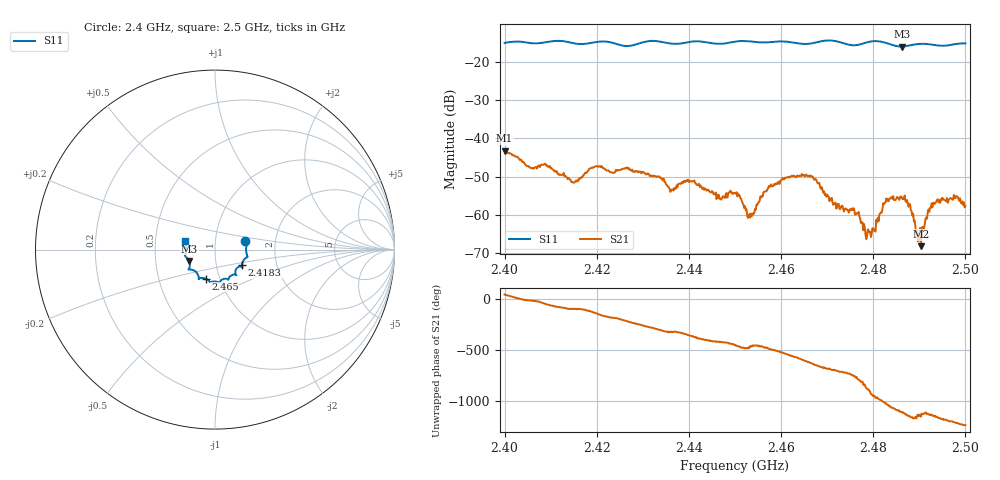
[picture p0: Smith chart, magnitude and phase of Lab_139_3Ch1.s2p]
# Hz S RI R 50
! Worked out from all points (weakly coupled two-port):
!   601 points, 2.4 GHz to 2.5 GHz, reference 50 ohm
!   highest |S21| = -43.27 dB at 2.4 GHz (marker M1); lowest = -68.1 dB at 2.4903 GHz (marker M2)
!   lowest |S11| = -16.1 dB at 2.4862 GHz (marker M3), VSWR 1.37, Z = 37.2 - j4.82 ohm
!   |S11| at or under -10 dB: start of sweep to end of sweep
!   S12 and S22 are empty: the file has one direction only
!   S11 on the Smith chart (normalised r, x): 2.4 GHz: 1.40, +0.14; 2.4183 GHz: 1.33, -0.24; 2.465 GHz: 0.86, -0.28; 2.5 GHz: 0.71, +0.07
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2.4e9  0.169 0.0469  0.00463 0.00506  0 0  0 0
2.405833e9  0.1731 0.0104  0.00394 -0.000953  0 0  0 0
2.416667e9  0.1548 -0.0682  -0.000412 -0.00308  0 0  0 0
2.418333e9  0.1502 -0.0872  -0.00175 -0.00359  0 0  0 0
2.433333e9  0.1176 -0.141  0.00156 0.00278  0 0  0 0
2.436167e9  0.0985 -0.1402  0.00161 0.00142  0 0  0 0
2.440667e9  0.0752 -0.1662  0.00272 -0.000189  0 0  0 0
2.4465e9  0.0491 -0.1633  0.000995 -0.00153  0 0  0 0
2.45e9  0.0263 -0.1802  -0.000158 -0.00193  0 0  0 0
2.453333e9  0.0176 -0.1823  -0.000304 -0.000877  0 0  0 0
2.4575e9  -0.0134 -0.1784  -0.00151 -0.00175  0 0  0 0
2.465e9  -0.0526 -0.1615  -0.00146 0.00299  0 0  0 0
2.466667e9  -0.0713 -0.1576  0.000154 0.00317  0 0  0 0
2.471667e9  -0.0902 -0.1625  0.00133 0.000465  0 0  0 0
2.476333e9  -0.1138 -0.1178  0.000747 -0.000747  0 0  0 0
2.479e9  -0.1422 -0.1112  -0.000622 -0.000118  0 0  0 0
2.483333e9  -0.1411 -0.0965  0.00132 0.000746  0 0  0 0
2.486167e9  -0.1437 -0.0632  0.00142 -0.000987  0 0  0 0
2.490333e9  -0.1663 -0.0367  8.21e-05 -0.000383  0 0  0 0
2.4935e9  -0.1627 -0.0151  0.000456 -0.00136  0 0  0 0
2.498e9  -0.166 0.0356  -0.00138 -0.00111  0 0  0 0
2.5e9  -0.1664 0.0467  -0.00124 -0.000432  0 0  0 0
